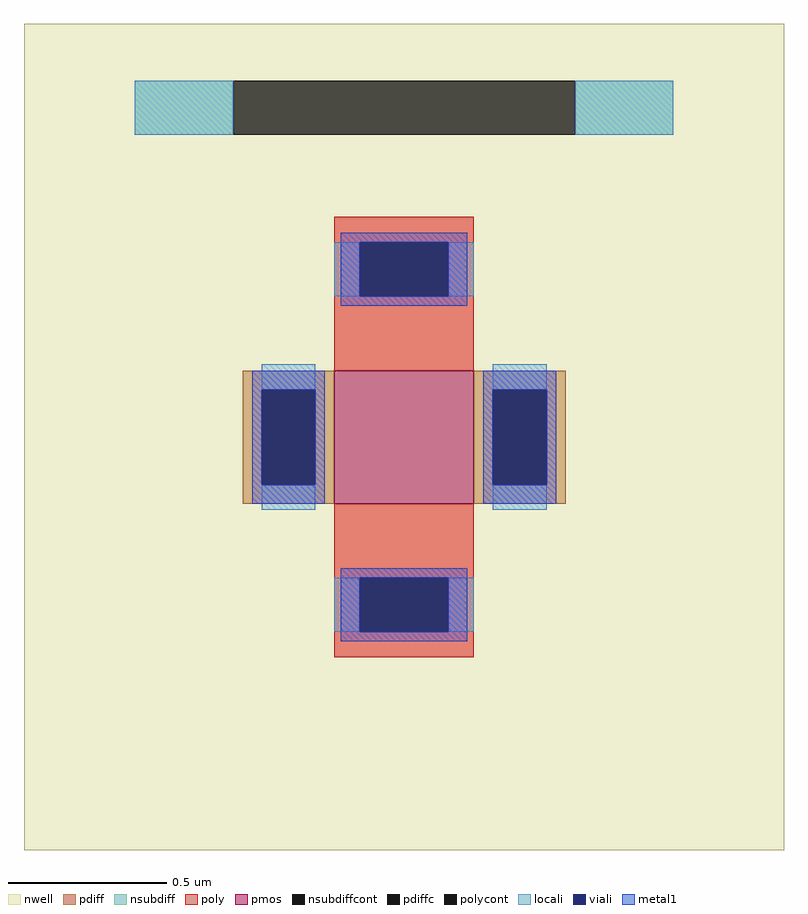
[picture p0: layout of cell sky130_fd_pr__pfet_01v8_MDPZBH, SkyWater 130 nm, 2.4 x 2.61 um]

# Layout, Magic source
magic
tech sky130A
magscale 1 2
<< nwell >>
rect -240 -261 240 261
<< pmos >>
rect -44 -42 44 42
<< pdiff >>
rect -102 30 -44 42
rect -102 -30 -90 30
rect -56 -30 -44 30
rect -102 -42 -44 -30
rect 44 30 102 42
rect 44 -30 56 30
rect 90 -30 102 30
rect 44 -42 102 -30
<< pdiffc >>
rect -90 -30 -56 30
rect 56 -30 90 30
<< nsubdiff >>
rect -170 191 -108 225
rect 108 191 170 225
<< nsubdiffcont >>
rect -108 191 108 225
<< poly >>
rect -44 123 44 139
rect -44 89 -28 123
rect 28 89 44 123
rect -44 42 44 89
rect -44 -89 44 -42
rect -44 -123 -28 -89
rect 28 -123 44 -89
rect -44 -139 44 -123
<< polycont >>
rect -28 89 28 123
rect -28 -123 28 -89
<< locali >>
rect -170 191 -108 225
rect 108 191 170 225
rect -44 89 -28 123
rect 28 89 44 123
rect -90 30 -56 46
rect -90 -46 -56 -30
rect 56 30 90 46
rect 56 -46 90 -30
rect -44 -123 -28 -89
rect 28 -123 44 -89
<< viali >>
rect -28 89 28 123
rect -90 -30 -56 30
rect 56 -30 90 30
rect -28 -123 28 -89
<< metal1 >>
rect -40 123 40 129
rect -40 89 -28 123
rect 28 89 40 123
rect -40 83 40 89
rect -96 30 -50 42
rect -96 -30 -90 30
rect -56 -30 -50 30
rect -96 -42 -50 -30
rect 50 30 96 42
rect 50 -30 56 30
rect 90 -30 96 30
rect 50 -42 96 -30
rect -40 -89 40 -83
rect -40 -123 -28 -89
rect 28 -123 40 -89
rect -40 -129 40 -123
<< properties >>
string FIXED_BBOX -187 -208 187 208
string gencell sky130_fd_pr__pfet_01v8
string library sky130
string parameters w 0.422 l 0.436 m 1 nf 1 diffcov 100 polycov 100 guard 1 glc 1 grc 1 gtc 1 gbc 1 tbcov 100 rlcov 100 topc 1 botc 1 poverlap 0 doverlap 1 lmin 0.15 wmin 0.42 compatible {sky130_fd_pr__pfet_01v8  sky130_fd_pr__pfet_01v8_lvt sky130_fd_pr__pfet_01v8_hvt  sky130_fd_pr__pfet_g5v0d10v5} full_metal 1 viasrc 100 viadrn 100 viagate 100 viagb 0 viagr 0 viagl 0 viagt 0
<< end >>
